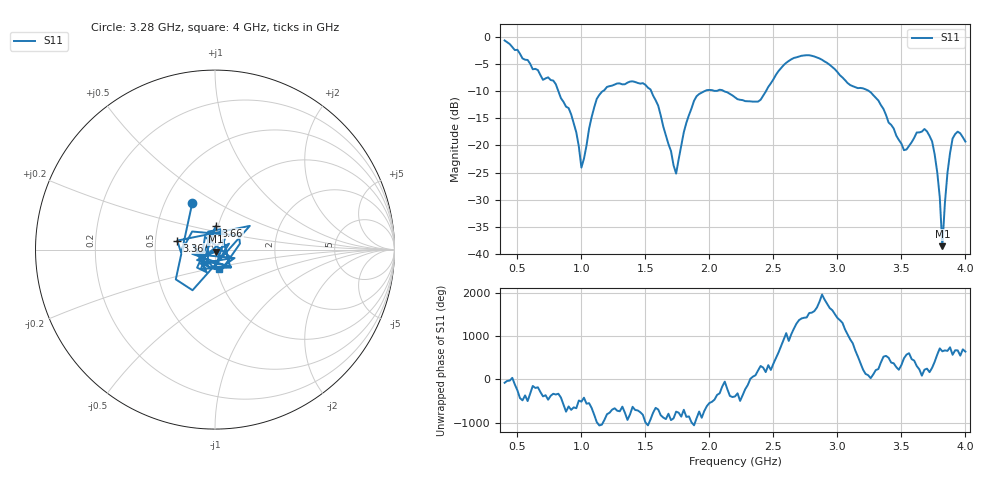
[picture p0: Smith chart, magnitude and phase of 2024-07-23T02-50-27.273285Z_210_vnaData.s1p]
!Created with skrf (http://scikit-rf.org).
# Hz S RI R 50.0
!freq ReS11 ImS11
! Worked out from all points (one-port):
!   181 points, 400 MHz to 4 GHz, reference 50 ohm
!   lowest |S11| = -38.5 dB at 3.82 GHz (marker M1), VSWR 1.02, Z = 50.4 - j1.12 ohm
!   |S11| at or under -10 dB: 819.1 MHz to 1.169 GHz (349.8 MHz wide, 35.2 % of centre); 1.545 GHz to 1.964 GHz (419 MHz wide, 23.9 % of centre); 3.246 GHz to end of sweep (the widest 3 of 4)
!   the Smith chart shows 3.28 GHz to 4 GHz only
!   S11 on the Smith chart (normalised r, x): 3.28 GHz: 0.69, +0.39; 3.36 GHz: 0.65, +0.07; 3.66 GHz: 0.98, +0.27; 4 GHz: 1.03, -0.22
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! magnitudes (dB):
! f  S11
! 400 MHz  -0.7
! 780 MHz  -8.1
! 860 MHz  -12.0
! 960 MHz  -17.6
! 1 GHz  -24.1
! 1.12 GHz  -11.4
! 1.3 GHz  -8.6
! 1.54 GHz  -9.7
! 1.74 GHz  -25.2
! 1.76 GHz  -22.5
! 1.82 GHz  -15.8
! 1.9 GHz  -11.0
! 2.2 GHz  -11.2
! 2.38 GHz  -11.9
! 2.66 GHz  -3.9
! 2.86 GHz  -4.0
! 3.1 GHz  -8.9
! 3.28 GHz  -10.8
! 3.36 GHz  -13.3
! 3.52 GHz  -20.9
! 3.56 GHz  -20.1
! 3.66 GHz  -17.5
! 3.76 GHz  -21.7
! 3.8 GHz  -29.6
! 3.82 GHz  -38.5
! 3.86 GHz  -25.0
! 3.9 GHz  -18.7
! 4 GHz  -19.3
